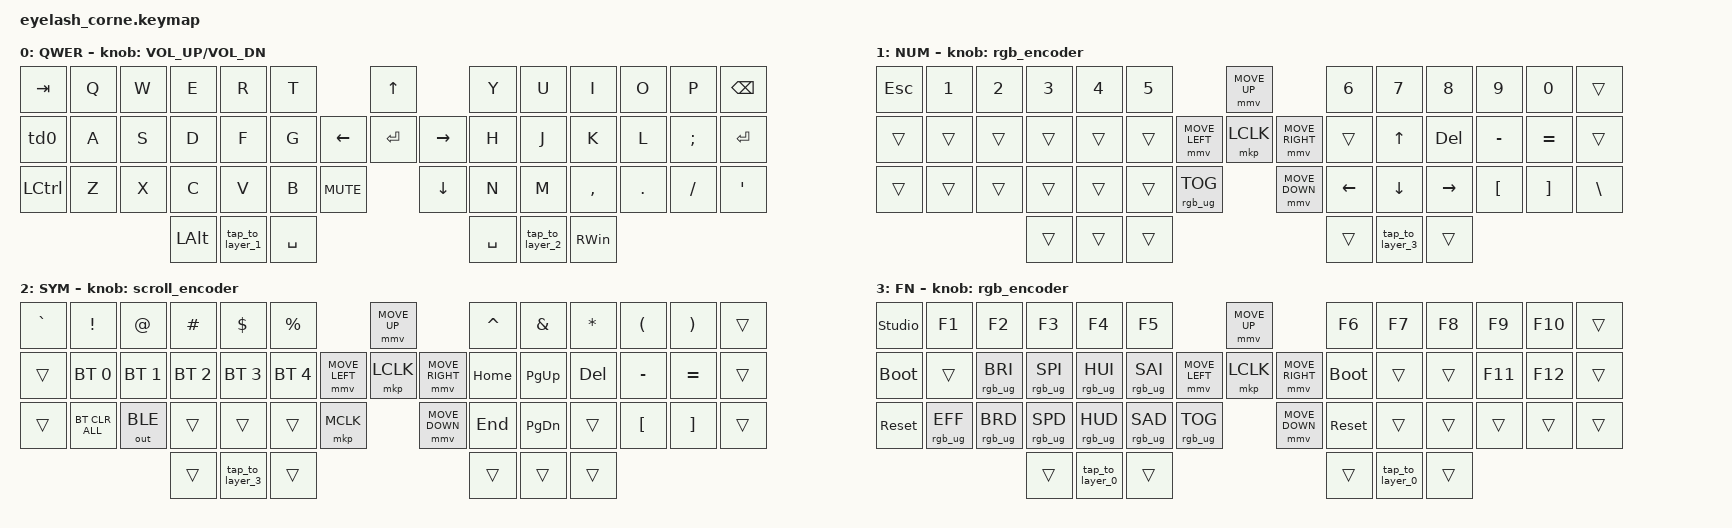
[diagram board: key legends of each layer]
#define ZMK_POINTING_DEFAULT_MOVE_VAL 1200  // 600
#define ZMK_POINTING_DEFAULT_SCRL_VAL 25   // 10

#include <input/processors.dtsi>
#include <zephyr/dt-bindings/input/input-event-codes.h>
#include <behaviors.dtsi>
#include <dt-bindings/zmk/bt.h>
#include <dt-bindings/zmk/keys.h>
#include <dt-bindings/zmk/outputs.h>
#include <dt-bindings/zmk/pointing.h>
#include <dt-bindings/zmk/rgb.h>

&mmv_input_listener { input-processors = <&zip_xy_scaler 2 1>; };

&msc_input_listener { input-processors = <&zip_scroll_scaler 2 1>; };

&msc {
    acceleration-exponent = <1>;      // 0
    time-to-max-speed-ms = <100>;       // 300
    delay-ms = <0>;                   // 0
};

&mmv {
    time-to-max-speed-ms = <500>;
    acceleration-exponent = <1>;
    trigger-period-ms = <16>;
};

&soft_off { hold-time-ms = <2000>; };

/ {
    behaviors {
        td0: td0 {
            compatible = "zmk,behavior-tap-dance";
            display-name = "Shift/Caps Lock Tap Dance";
            #binding-cells = <0>;
            bindings = <&kp LEFT_SHIFT>, <&kp CAPS>;
        };

        tap_to_layer_1: tap_to_layer_1 {
            compatible = "zmk,behavior-tap-dance";
            label = "TAP_TO_LAYER_1";
            #binding-cells = <0>;
            bindings = <&mo 1>, <&none>, <&tog 1>;
        };

        tap_to_layer_2: tap_to_layer_2 {
            compatible = "zmk,behavior-tap-dance";
            label = "TAP_TO_LAYER_2";
            #binding-cells = <0>;
            bindings = <&mo 2>, <&none>, <&tog 2>;
        };

        tap_to_layer_3: tap_to_layer_3 {
            compatible = "zmk,behavior-tap-dance";
            label = "TAP_TO_LAYER_3";
            #binding-cells = <0>;
            bindings = <&mo 3>, <&none>, <&tog 3>;
        };

        tap_to_layer_0: tap_to_layer_0 {
            compatible = "zmk,behavior-tap-dance";
            label = "TAP_TO_LAYER_0";
            #binding-cells = <0>;
            bindings = <&none>, <&none>, <&tog 3>;
        };
    };

    rgb_encoder: rgb_encoder {
        compatible = "zmk,behavior-sensor-rotate";
        #sensor-binding-cells = <0>;
        bindings = <&rgb_ug RGB_BRI>, <&rgb_ug RGB_BRD>;
    };

    scroll_encoder: scroll_encoder {
        compatible = "zmk,behavior-sensor-rotate";
        #sensor-binding-cells = <0>;
        bindings = <&msc SCRL_DOWN>, <&msc SCRL_UP>;

        tap-ms = <100>;
    };

    combos {
        compatible = "zmk,combos";

        softoff {
            bindings = <&soft_off>;
            key-positions = <2 1 3 4>;
        };
    };

    keymap {
        compatible = "zmk,keymap";

        QWERTY {
            display-name = "QWER";
            bindings = <
&kp TAB    &kp Q  &kp W  &kp E     &kp R            &kp T                              &kp UP                &kp Y      &kp U            &kp I      &kp O    &kp P     &kp BSPC
&td0       &kp A  &kp S  &kp D     &kp F            &kp G                    &kp LEFT  &kp ENTER  &kp RIGHT  &kp H      &kp J            &kp K      &kp L    &kp SEMI  &kp RET
&kp LCTRL  &kp Z  &kp X  &kp C     &kp V            &kp B      &kp C_MUTE              &kp DOWN              &kp N      &kp M            &kp COMMA  &kp DOT  &kp FSLH  &kp SQT
                         &kp LALT  &tap_to_layer_1  &kp SPACE                                                &kp SPACE  &tap_to_layer_2  &kp RWIN
            >;

            sensor-bindings = <&inc_dec_kp C_VOLUME_UP C_VOL_DN>;
        };

        Numbers {
            display-name = "NUM";
            bindings = <
&kp ESC  &kp N1  &kp N2  &kp N3  &kp N4  &kp N5                                     &mmv MOVE_UP                     &kp N6    &kp N7           &kp N8     &kp N9     &kp N0     &trans
&trans   &trans  &trans  &trans  &trans  &trans                     &mmv MOVE_LEFT  &mkp LCLK       &mmv MOVE_RIGHT  &trans    &kp UP           &kp DEL    &kp MINUS  &kp EQUAL  &trans
&trans   &trans  &trans  &trans  &trans  &trans  &rgb_ug RGB_TOG                    &mmv MOVE_DOWN                   &kp LEFT  &kp DOWN         &kp RIGHT  &kp LBKT   &kp RBKT   &kp BSLH
                         &trans  &trans  &trans                                                                      &trans    &tap_to_layer_3  &trans
            >;

            sensor-bindings = <&rgb_encoder>;
        };

        Symbols {
            display-name = "SYM";
            bindings = <
&kp GRAVE  &kp EXCL        &kp AT        &kp HASH      &kp DLLR         &kp PRCNT                                  &mmv MOVE_UP                     &kp CARET  &kp AMPS   &kp ASTRK  &kp LPAR   &kp RPAR   &trans
&trans     &bt BT_SEL 0    &bt BT_SEL 1  &bt BT_SEL 2  &bt BT_SEL 3     &bt BT_SEL 4               &mmv MOVE_LEFT  &mkp LCLK       &mmv MOVE_RIGHT  &kp HOME   &kp PG_UP  &kp DEL    &kp MINUS  &kp EQUAL  &trans
&trans     &bt BT_CLR_ALL  &out OUT_BLE  &trans        &trans           &trans        &mkp MCLK                    &mmv MOVE_DOWN                   &kp END    &kp PG_DN  &trans     &kp LBKT   &kp RBKT   &trans
                                         &trans        &tap_to_layer_3  &trans                                                                      &trans     &trans     &trans
            >;

            sensor-bindings = <&scroll_encoder>;
        };

        Functions {
            display-name = "FN";
            bindings = <
&studio_unlock  &kp F1           &kp F2           &kp F3           &kp F4           &kp F5                                              &mmv MOVE_UP                     &kp F6       &kp F7           &kp F8  &kp F9   &kp F10  &trans
&bootloader     &trans           &rgb_ug RGB_BRI  &rgb_ug RGB_SPI  &rgb_ug RGB_HUI  &rgb_ug RGB_SAI                     &mmv MOVE_LEFT  &mkp LCLK       &mmv MOVE_RIGHT  &bootloader  &trans           &trans  &kp F11  &kp F12  &trans
&sys_reset      &rgb_ug RGB_EFF  &rgb_ug RGB_BRD  &rgb_ug RGB_SPD  &rgb_ug RGB_HUD  &rgb_ug RGB_SAD  &rgb_ug RGB_TOG                    &mmv MOVE_DOWN                   &sys_reset   &trans           &trans  &trans   &trans   &trans
                                                  &trans           &tap_to_layer_0  &trans                                                                               &trans       &tap_to_layer_0  &trans
            >;

            sensor-bindings = <&rgb_encoder>;
        };
    };

    conditional_layers { compatible = "zmk,conditional-layers"; };
};
